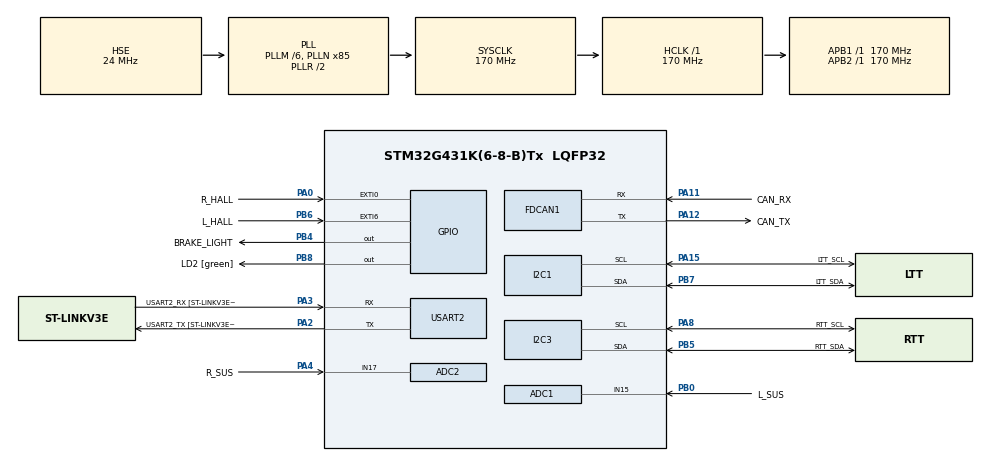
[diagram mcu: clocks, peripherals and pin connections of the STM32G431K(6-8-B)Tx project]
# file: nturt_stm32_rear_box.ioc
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ADC1.Channel-7\#ChannelRegularConversion=ADC_CHANNEL_15
ADC1.NbrOfConversion=1
ADC1.NbrOfConversionFlag=1
ADC1.OffsetNumber-7\#ChannelRegularConversion=ADC_OFFSET_NONE
ADC1.OversamplingMode=ENABLE
ADC1.Rank-7\#ChannelRegularConversion=1
ADC1.Ratio=ADC_OVERSAMPLING_RATIO_4
ADC1.Resolution=ADC_RESOLUTION_10B
ADC1.RightBitShift=ADC_RIGHTBITSHIFT_2
ADC1.SamplingTime-7\#ChannelRegularConversion=ADC_SAMPLETIME_47CYCLES_5
ADC1.master=1
ADC2.Channel-4\#ChannelRegularConversion=ADC_CHANNEL_17
ADC2.NbrOfConversionFlag=1
ADC2.OffsetNumber-4\#ChannelRegularConversion=ADC_OFFSET_NONE
ADC2.OversamplingMode=ENABLE
ADC2.Rank-4\#ChannelRegularConversion=1
ADC2.Ratio=ADC_OVERSAMPLING_RATIO_4
ADC2.Resolution=ADC_RESOLUTION_10B
ADC2.RightBitShift=ADC_RIGHTBITSHIFT_2
ADC2.SamplingTime-4\#ChannelRegularConversion=ADC_SAMPLETIME_47CYCLES_5
CRC.CRCLength=CRC_POLYLENGTH_8B
CRC.DefaultInitValueUse=DEFAULT_INIT_VALUE_DISABLE
CRC.DefaultPolynomialUse=DEFAULT_POLYNOMIAL_DISABLE
Dma.I2C1_RX.2.Direction=DMA_PERIPH_TO_MEMORY
Dma.I2C1_RX.2.EventEnable=DISABLE
Dma.I2C1_RX.2.Instance=DMA1_Channel1
Dma.I2C1_RX.2.MemDataAlignment=DMA_MDATAALIGN_BYTE
Dma.I2C1_RX.2.MemInc=DMA_MINC_ENABLE
Dma.I2C1_RX.2.Mode=DMA_NORMAL
Dma.I2C1_RX.2.PeriphDataAlignment=DMA_PDATAALIGN_BYTE
Dma.I2C1_RX.2.PeriphInc=DMA_PINC_DISABLE
Dma.I2C1_RX.2.Polarity=HAL_DMAMUX_REQ_GEN_RISING
Dma.I2C1_RX.2.Priority=DMA_PRIORITY_LOW
Dma.I2C1_RX.2.RequestNumber=1
Dma.I2C1_RX.2.SignalID=NONE
Dma.I2C1_RX.2.SyncEnable=DISABLE
Dma.I2C1_RX.2.SyncPolarity=HAL_DMAMUX_SYNC_NO_EVENT
Dma.I2C1_RX.2.SyncRequestNumber=1
Dma.I2C1_RX.2.SyncSignalID=NONE
Dma.I2C1_TX.3.Direction=DMA_MEMORY_TO_PERIPH
Dma.I2C1_TX.3.EventEnable=DISABLE
Dma.I2C1_TX.3.Instance=DMA1_Channel2
Dma.I2C1_TX.3.MemDataAlignment=DMA_MDATAALIGN_BYTE
Dma.I2C1_TX.3.MemInc=DMA_MINC_ENABLE
Dma.I2C1_TX.3.Mode=DMA_NORMAL
Dma.I2C1_TX.3.PeriphDataAlignment=DMA_PDATAALIGN_BYTE
Dma.I2C1_TX.3.PeriphInc=DMA_PINC_DISABLE
Dma.I2C1_TX.3.Polarity=HAL_DMAMUX_REQ_GEN_RISING
Dma.I2C1_TX.3.Priority=DMA_PRIORITY_LOW
Dma.I2C1_TX.3.RequestNumber=1
Dma.I2C1_TX.3.SignalID=NONE
Dma.I2C1_TX.3.SyncEnable=DISABLE
Dma.I2C1_TX.3.SyncPolarity=HAL_DMAMUX_SYNC_NO_EVENT
Dma.I2C1_TX.3.SyncRequestNumber=1
Dma.I2C1_TX.3.SyncSignalID=NONE
Dma.I2C3_RX.1.Direction=DMA_PERIPH_TO_MEMORY
Dma.I2C3_RX.1.EventEnable=DISABLE
Dma.I2C3_RX.1.Instance=DMA1_Channel4
Dma.I2C3_RX.1.MemDataAlignment=DMA_MDATAALIGN_BYTE
Dma.I2C3_RX.1.MemInc=DMA_MINC_ENABLE
Dma.I2C3_RX.1.Mode=DMA_NORMAL
Dma.I2C3_RX.1.PeriphDataAlignment=DMA_PDATAALIGN_BYTE
Dma.I2C3_RX.1.PeriphInc=DMA_PINC_DISABLE
Dma.I2C3_RX.1.Polarity=HAL_DMAMUX_REQ_GEN_RISING
Dma.I2C3_RX.1.Priority=DMA_PRIORITY_LOW
Dma.I2C3_RX.1.RequestNumber=1
Dma.I2C3_RX.1.SignalID=NONE
Dma.I2C3_RX.1.SyncEnable=DISABLE
Dma.I2C3_RX.1.SyncPolarity=HAL_DMAMUX_SYNC_NO_EVENT
Dma.I2C3_RX.1.SyncRequestNumber=1
Dma.I2C3_RX.1.SyncSignalID=NONE
Dma.I2C3_TX.0.Direction=DMA_MEMORY_TO_PERIPH
Dma.I2C3_TX.0.EventEnable=DISABLE
Dma.I2C3_TX.0.Instance=DMA1_Channel3
Dma.I2C3_TX.0.MemDataAlignment=DMA_MDATAALIGN_BYTE
Dma.I2C3_TX.0.MemInc=DMA_MINC_ENABLE
Dma.I2C3_TX.0.Mode=DMA_NORMAL
Dma.I2C3_TX.0.PeriphDataAlignment=DMA_PDATAALIGN_BYTE
Dma.I2C3_TX.0.PeriphInc=DMA_PINC_DISABLE
Dma.I2C3_TX.0.Polarity=HAL_DMAMUX_REQ_GEN_RISING
Dma.I2C3_TX.0.Priority=DMA_PRIORITY_LOW
Dma.I2C3_TX.0.RequestNumber=1
Dma.I2C3_TX.0.SignalID=NONE
Dma.I2C3_TX.0.SyncEnable=DISABLE
Dma.I2C3_TX.0.SyncPolarity=HAL_DMAMUX_SYNC_NO_EVENT
Dma.I2C3_TX.0.SyncRequestNumber=1
Dma.I2C3_TX.0.SyncSignalID=NONE
Dma.Request0=I2C3_TX
Dma.Request1=I2C3_RX
Dma.Request2=I2C1_RX
Dma.Request3=I2C1_TX
FDCAN1.CalculateBaudRateNominal=250000
FDCAN1.CalculateTimeBitNominal=4000
FDCAN1.CalculateTimeQuantumNominal=200.0
FDCAN1.ClockDivider=FDCAN_CLOCK_DIV2
FDCAN1.ExtFiltersNbr=8
FDCAN1.NominalPrescaler=17
FDCAN1.NominalTimeSeg1=9
FDCAN1.NominalTimeSeg2=10
FDCAN1.StdFiltersNbr=28
FREERTOS.Mutexes01=hallStoreMutex,Dynamic,NULL;suspensionMutex,Static,suspensionMutexControlBlock;tireTempMutex,Static,tireTempMutexControlBlock;hallLeftTimeMutex,Static,hallLeftTimeMutexControlBlock;hallRightTimeMutex,Static,hallRightTimeMutexControlBlock
FREERTOS.Tasks01=sensor,24,256,StartSensorTask,As weak,NULL,Static,sensorBuffer,sensorControlBlock;feed_dog_task,55,128,start_feed_dog_task,As weak,NULL,Static,feed_dog_task_buffer,feed_dog_task_control_block
FREERTOS.Timers01=sensorTimer,sensor_timer_callback,osTimerPeriodic,As weak,NULL,Static,sensorTimerControlBlock
FREERTOS.configCHECK_FOR_STACK_OVERFLOW=1
FREERTOS.configENABLE_FPU=1
FREERTOS.configGENERATE_RUN_TIME_STATS=1
FREERTOS.configTIMER_TASK_PRIORITY=48
FREERTOS.configTOTAL_HEAP_SIZE=6144
FREERTOS.configUSE_NEWLIB_REENTRANT=1
FREERTOS.configUSE_STATS_FORMATTING_FUNCTIONS=1
I2C1.I2C_Fall_Time=20
I2C1.I2C_Rise_Time=20
I2C1.Speed=50
I2C1.Timing=0xB0303ED9
I2C3.I2C_Fall_Time=20
I2C3.I2C_Rise_Time=20
I2C3.Speed=50
I2C3.Timing=0xB0303ED9
IWDG.Reload=1600 - 1
IWDG.Window=1600 - 1
Mcu.Family=STM32G4
Mcu.Name=STM32G431K(6-8-B)Tx
Mcu.Package=LQFP32
Mcu.UserConstants=WHEEL_SPEED_TIMER_PERIOD,10;WHEEL_SPEED_TIMER_COUNT_PERIOD,0.001
NVIC.ADC1_2_IRQn=true\:5\:0\:false\:false\:true\:true\:true\:true\:true
NVIC.DMA1_Channel1_IRQn=true\:5\:0\:false\:false\:true\:true\:false\:true\:true
NVIC.DMA1_Channel2_IRQn=true\:5\:0\:false\:false\:true\:true\:false\:true\:true
NVIC.DMA1_Channel3_IRQn=true\:5\:0\:false\:false\:true\:true\:false\:true\:true
NVIC.DMA1_Channel4_IRQn=true\:5\:0\:false\:false\:true\:true\:false\:true\:true
NVIC.EXTI0_IRQn=true\:5\:0\:false\:false\:true\:true\:true\:true\:true
NVIC.EXTI9_5_IRQn=true\:5\:0\:false\:false\:true\:true\:true\:true\:true
NVIC.FDCAN1_IT0_IRQn=true\:5\:0\:false\:false\:true\:true\:true\:true\:true
NVIC.I2C1_ER_IRQn=true\:5\:0\:false\:false\:true\:true\:true\:true\:true
NVIC.I2C1_EV_IRQn=true\:5\:0\:false\:false\:true\:true\:true\:true\:true
NVIC.I2C3_ER_IRQn=true\:5\:0\:false\:false\:true\:true\:true\:true\:true
NVIC.I2C3_EV_IRQn=true\:5\:0\:false\:false\:true\:true\:true\:true\:true
NVIC.PriorityGroup=NVIC_PRIORITYGROUP_4
NVIC.TIM1_UP_TIM16_IRQn=true\:5\:0\:false\:false\:true\:true\:true\:true\:true
NVIC.TIM6_DAC_IRQn=true\:5\:0\:false\:false\:true\:true\:true\:true\:true
NVIC.TIM7_IRQn=true\:15\:0\:false\:false\:true\:false\:false\:true\:true
NVIC.TimeBase=TIM7_IRQn
NVIC.TimeBaseIP=TIM7
PA0.GPIO_Label=R_HALL
PA0.GPIO_PuPd=GPIO_PULLUP
PA0.Signal=GPXTI0
PA11.GPIO_Label=CAN_RX
PA11.Mode=FDCAN_Activate
PA11.Signal=FDCAN1_RX
PA12.GPIO_Label=CAN_TX
PA12.Mode=FDCAN_Activate
PA12.Signal=FDCAN1_TX
PA13.GPIO_Label=T_SWDIO
PA13.Mode=Serial_Wire
PA13.Signal=SYS_JTMS-SWDIO
PA14.GPIO_Label=T_SWCLK
PA14.Mode=Serial_Wire
PA14.Signal=SYS_JTCK-SWCLK
PA15.GPIO_Label=LTT_SCL
PA15.Mode=I2C
PA15.Signal=I2C1_SCL
PA2.GPIO_Label=USART2_TX [ST-LINKV3E_VCP_RX]
PA2.Mode=Asynchronous
PA2.Signal=USART2_TX
PA3.GPIO_Label=USART2_RX [ST-LINKV3E_VCP_TX]
PA3.Mode=Asynchronous
PA3.Signal=USART2_RX
PA4.GPIO_Label=R_SUS
PA4.Mode=IN17-Single-Ended
PA4.Signal=ADC2_IN17
PA8.GPIO_Label=RTT_SCL
PA8.Mode=I2C
PA8.Signal=I2C3_SCL
PB0.GPIO_Label=L_SUS
PB0.Mode=IN15-Single-Ended
PB0.Signal=ADC1_IN15
PB4.GPIO_Label=BRAKE_LIGHT
PB4.Signal=GPIO_Output
PB5.GPIO_Label=RTT_SDA
PB5.Mode=I2C
PB5.Signal=I2C3_SDA
PB6.GPIO_Label=L_HALL
PB6.GPIO_ModeDefaultEXTI=GPIO_MODE_IT_FALLING
PB6.GPIO_PuPd=GPIO_PULLUP
PB6.Signal=GPXTI6
PB7.GPIO_Label=LTT_SDA
PB7.Mode=I2C
PB7.Signal=I2C1_SDA
PB8-BOOT0.GPIO_Label=LD2 [green]
PB8-BOOT0.Signal=GPIO_Output
PF0-OSC_IN.Mode=HSE-External-Oscillator
PF0-OSC_IN.Signal=RCC_OSC_IN
PF1-OSC_OUT.Mode=HSE-External-Oscillator
PF1-OSC_OUT.Signal=RCC_OSC_OUT
ProjectManager.HeapSize=0x200
ProjectManager.StackSize=0x400
ProjectManager.TargetToolchain=STM32CubeIDE
RCC.ADC12Freq_Value=170000000
RCC.AHBFreq_Value=170000000
RCC.APB1Freq_Value=170000000
RCC.APB1TimFreq_Value=170000000
RCC.APB2Freq_Value=170000000
RCC.APB2TimFreq_Value=170000000
RCC.CortexFreq_Value=170000000
RCC.EXTERNAL_CLOCK_VALUE=12288000
RCC.HCLKFreq_Value=170000000
RCC.HSE_VALUE=24000000
RCC.HSI48_VALUE=48000000
RCC.HSI_VALUE=16000000
RCC.LSE_VALUE=32768
RCC.PLLM=RCC_PLLM_DIV6
RCC.PLLN=85
RCC.PLLQ=RCC_PLLQ_DIV4
RCC.PLLSourceVirtual=RCC_PLLSOURCE_HSE
RCC.SYSCLKFreq_VALUE=170000000
RCC.SYSCLKSource=RCC_SYSCLKSOURCE_PLLCLK
RCC.USBFreq_Value=85000000
RCC.VCOOutputFreq_Value=340000000
TIM16.PeriodNoDither=100-1
TIM16.Prescaler=170
TIM2.Prescaler=1700 - 1
TIM6.AutoReloadPreload=TIM_AUTORELOAD_PRELOAD_ENABLE
TIM6.PeriodNoDither=10000-1
TIM6.Prescaler=170-1
USART2.VirtualMode-Asynchronous=VM_ASYNC
USART2.WordLength=WORDLENGTH_8B
VP_CRC_VS_CRC.Mode=CRC_Activate
VP_FREERTOS_VS_CMSIS_V2.Mode=CMSIS_V2
VP_IWDG_VS_IWDG.Mode=IWDG_Activate
VP_SYS_VS_DBSignals.Mode=DisableDeadBatterySignals
VP_SYS_VS_tim7.Mode=TIM7
VP_TIM16_VS_ClockSourceINT.Mode=Enable_Timer
VP_TIM2_VS_ClockSourceINT.Mode=Internal
VP_TIM6_VS_ClockSourceINT.Mode=Enable_Timer
board=NUCLEO-G431KB

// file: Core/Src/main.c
/* USER CODE BEGIN Header */
/**
  ******************************************************************************
  * @file           : main.c
  * @brief          : Main program body
  ******************************************************************************
  * @attention
  *
  * Copyright (c) 2023 STMicroelectronics.
  * All rights reserved.
  *
  * This software is licensed under terms that can be found in the LICENSE file
  * in the root directory of this software component.
  * If no LICENSE file comes with this software, it is provided AS-IS.
  *
  ******************************************************************************
  */
/* USER CODE END Header */
#include "main.h"
#include "cmsis_os.h"

/* USER CODE BEGIN Includes */
#include "user_main.h"
#include "sensors.h"
/* USER CODE END Includes */

typedef StaticTask_t osStaticThreadDef_t;
typedef StaticTimer_t osStaticTimerDef_t;
typedef StaticSemaphore_t osStaticMutexDef_t;

ADC_HandleTypeDef hadc1;
ADC_HandleTypeDef hadc2;

CRC_HandleTypeDef hcrc;

FDCAN_HandleTypeDef hfdcan1;

I2C_HandleTypeDef hi2c1;
I2C_HandleTypeDef hi2c3;
DMA_HandleTypeDef hdma_i2c1_rx;
DMA_HandleTypeDef hdma_i2c1_tx;
DMA_HandleTypeDef hdma_i2c3_tx;
DMA_HandleTypeDef hdma_i2c3_rx;

IWDG_HandleTypeDef hiwdg;

TIM_HandleTypeDef htim2;
TIM_HandleTypeDef htim6;
TIM_HandleTypeDef htim16;

UART_HandleTypeDef huart2;

/* Definitions for sensor */
osThreadId_t sensorHandle;
uint32_t sensorBuffer[ 256 ];
osStaticThreadDef_t sensorControlBlock;
const osThreadAttr_t sensor_attributes = {
  .name = "sensor",
  .stack_mem = &sensorBuffer[0],
  .stack_size = sizeof(sensorBuffer),
  .cb_mem = &sensorControlBlock,
  .cb_size = sizeof(sensorControlBlock),
  .priority = (osPriority_t) osPriorityNormal,
};
/* Definitions for feed_dog_task */
osThreadId_t feed_dog_taskHandle;
uint32_t feed_dog_task_buffer[ 128 ];
osStaticThreadDef_t feed_dog_task_control_block;
const osThreadAttr_t feed_dog_task_attributes = {
  .name = "feed_dog_task",
  .stack_mem = &feed_dog_task_buffer[0],
  .stack_size = sizeof(feed_dog_task_buffer),
  .cb_mem = &feed_dog_task_control_block,
  .cb_size = sizeof(feed_dog_task_control_block),
  .priority = (osPriority_t) osPriorityRealtime7,
};
/* Definitions for sensorTimer */
osTimerId_t sensorTimerHandle;
osStaticTimerDef_t sensorTimerControlBlock;
const osTimerAttr_t sensorTimer_attributes = {
  .name = "sensorTimer",
  .cb_mem = &sensorTimerControlBlock,
  .cb_size = sizeof(sensorTimerControlBlock),
};
/* Definitions for hallStoreMutex */
osMutexId_t hallStoreMutexHandle;
const osMutexAttr_t hallStoreMutex_attributes = {
  .name = "hallStoreMutex"
};
/* Definitions for suspensionMutex */
osMutexId_t suspensionMutexHandle;
osStaticMutexDef_t suspensionMutexControlBlock;
const osMutexAttr_t suspensionMutex_attributes = {
  .name = "suspensionMutex",
  .cb_mem = &suspensionMutexControlBlock,
  .cb_size = sizeof(suspensionMutexControlBlock),
};
/* Definitions for tireTempMutex */
osMutexId_t tireTempMutexHandle;
osStaticMutexDef_t tireTempMutexControlBlock;
const osMutexAttr_t tireTempMutex_attributes = {
  .name = "tireTempMutex",
  .cb_mem = &tireTempMutexControlBlock,
  .cb_size = sizeof(tireTempMutexControlBlock),
};
/* Definitions for hallLeftTimeMutex */
osMutexId_t hallLeftTimeMutexHandle;
osStaticMutexDef_t hallLeftTimeMutexControlBlock;
const osMutexAttr_t hallLeftTimeMutex_attributes = {
  .name = "hallLeftTimeMutex",
  .cb_mem = &hallLeftTimeMutexControlBlock,
  .cb_size = sizeof(hallLeftTimeMutexControlBlock),
};
/* Definitions for hallRightTimeMutex */
osMutexId_t hallRightTimeMutexHandle;
osStaticMutexDef_t hallRightTimeMutexControlBlock;
const osMutexAttr_t hallRightTimeMutex_attributes = {
  .name = "hallRightTimeMutex",
  .cb_mem = &hallRightTimeMutexControlBlock,
  .cb_size = sizeof(hallRightTimeMutexControlBlock),
};
/* USER CODE BEGIN PV */

//exporting peripheral handle as global variable
ADC_HandleTypeDef* const p_hadc_susR = &hadc2;
ADC_HandleTypeDef* const p_hadc_susL = &hadc1;
FDCAN_HandleTypeDef* const p_hcan = &hfdcan1;
I2C_HandleTypeDef* const p_hi2c_tireTempR = &hi2c3;
I2C_HandleTypeDef* const p_hi2c_tireTempL = &hi2c1;
// DMA_HandleTypeDef* const p_hdma_tireTempR = &hdma_i2c3_rx;
CRC_HandleTypeDef* const p_hcrc_i2c = &hcrc;
TIM_HandleTypeDef* const p_htim_hallSensorBase = &htim6;
UART_HandleTypeDef* const p_huart_testCOM = &huart2;
TIM_HandleTypeDef* const p_htim_rtosStatBase = &htim16;

/* USER CODE END PV */

void SystemClock_Config(void);
static void MX_GPIO_Init(void);
static void MX_DMA_Init(void);
static void MX_ADC2_Init(void);
static void MX_FDCAN1_Init(void);
static void MX_TIM6_Init(void);
static void MX_ADC1_Init(void);
static void MX_USART2_UART_Init(void);
static void MX_TIM16_Init(void);
static void MX_CRC_Init(void);
static void MX_I2C3_Init(void);
static void MX_I2C1_Init(void);
static void MX_TIM2_Init(void);
static void MX_IWDG_Init(void);
void StartSensorTask(void *argument);
void start_feed_dog_task(void *argument);
void sensor_timer_callback(void *argument);

int main(void)
{

  /* MCU Configuration--------------------------------------------------------*/

  /* Reset of all peripherals, Initializes the Flash interface and the Systick. */
  HAL_Init();

  /* Configure the system clock */
  SystemClock_Config();

  /* Initialize all configured peripherals */
  MX_GPIO_Init();
  MX_DMA_Init();
  MX_ADC2_Init();
  MX_FDCAN1_Init();
  MX_TIM6_Init();
  MX_ADC1_Init();
  MX_USART2_UART_Init();
  MX_TIM16_Init();
  MX_CRC_Init();
  MX_I2C3_Init();
  MX_I2C1_Init();
  MX_TIM2_Init();
  MX_IWDG_Init();
  /* USER CODE BEGIN 2 */
  user_init();
  /* USER CODE END 2 */

  /* Init scheduler */
  osKernelInitialize();
  /* Create the mutex(es) */
  /* creation of hallStoreMutex */
  hallStoreMutexHandle = osMutexNew(&hallStoreMutex_attributes);

  /* creation of suspensionMutex */
  suspensionMutexHandle = osMutexNew(&suspensionMutex_attributes);

  /* creation of tireTempMutex */
  tireTempMutexHandle = osMutexNew(&tireTempMutex_attributes);

  /* creation of hallLeftTimeMutex */
  hallLeftTimeMutexHandle = osMutexNew(&hallLeftTimeMutex_attributes);

  /* creation of hallRightTimeMutex */
  hallRightTimeMutexHandle = osMutexNew(&hallRightTimeMutex_attributes);

  /* USER CODE BEGIN RTOS_MUTEX */
  /* bind mutexes, ... */
  wheel_speed_sensor.mutex = hallStoreMutexHandle;
  travel_sensor.mutex = suspensionMutexHandle;
  tire_temp_sensor.mutex = tireTempMutexHandle;
  bindHallMutex(hallLeftTimeMutexHandle, hallRightTimeMutexHandle);
  /* USER CODE END RTOS_MUTEX */

  /* Create the timer(s) */
  /* creation of sensorTimer */
  sensorTimerHandle = osTimerNew(sensor_timer_callback, osTimerPeriodic, NULL, &sensorTimer_attributes);

  /* Create the thread(s) */
  /* creation of sensor */
  sensorHandle = osThreadNew(StartSensorTask, NULL, &sensor_attributes);

  /* creation of feed_dog_task */
  feed_dog_taskHandle = osThreadNew(start_feed_dog_task, NULL, &feed_dog_task_attributes);

  /* Start scheduler */
  osKernelStart();
  /* We should never get here as control is now taken by the scheduler */
  /* Infinite loop */
  while (1)
  {

  }
}

void SystemClock_Config(void)
{
  RCC_OscInitTypeDef RCC_OscInitStruct = {0};
  RCC_ClkInitTypeDef RCC_ClkInitStruct = {0};

  /** Configure the main internal regulator output voltage
  */
  HAL_PWREx_ControlVoltageScaling(PWR_REGULATOR_VOLTAGE_SCALE1_BOOST);

  /** Initializes the RCC Oscillators according to the specified parameters
  * in the RCC_OscInitTypeDef structure.
  */
  RCC_OscInitStruct.OscillatorType = RCC_OSCILLATORTYPE_LSI|RCC_OSCILLATORTYPE_HSE;
  RCC_OscInitStruct.HSEState = RCC_HSE_ON;
  RCC_OscInitStruct.LSIState = RCC_LSI_ON;
  RCC_OscInitStruct.PLL.PLLState = RCC_PLL_ON;
  RCC_OscInitStruct.PLL.PLLSource = RCC_PLLSOURCE_HSE;
  RCC_OscInitStruct.PLL.PLLM = RCC_PLLM_DIV6;
  RCC_OscInitStruct.PLL.PLLN = 85;
  RCC_OscInitStruct.PLL.PLLP = RCC_PLLP_DIV2;
  RCC_OscInitStruct.PLL.PLLQ = RCC_PLLQ_DIV4;
  RCC_OscInitStruct.PLL.PLLR = RCC_PLLR_DIV2;
  if (HAL_RCC_OscConfig(&RCC_OscInitStruct) != HAL_OK)
  {
    Error_Handler();
  }

  /** Initializes the CPU, AHB and APB buses clocks
  */
  RCC_ClkInitStruct.ClockType = RCC_CLOCKTYPE_HCLK|RCC_CLOCKTYPE_SYSCLK
                              |RCC_CLOCKTYPE_PCLK1|RCC_CLOCKTYPE_PCLK2;
  RCC_ClkInitStruct.SYSCLKSource = RCC_SYSCLKSOURCE_PLLCLK;
  RCC_ClkInitStruct.AHBCLKDivider = RCC_SYSCLK_DIV1;
  RCC_ClkInitStruct.APB1CLKDivider = RCC_HCLK_DIV1;
  RCC_ClkInitStruct.APB2CLKDivider = RCC_HCLK_DIV1;

  if (HAL_RCC_ClockConfig(&RCC_ClkInitStruct, FLASH_LATENCY_4) != HAL_OK)
  {
    Error_Handler();
  }
}

static void MX_ADC1_Init(void)
{

  ADC_MultiModeTypeDef multimode = {0};
  ADC_ChannelConfTypeDef sConfig = {0};

  /** Common config
  */
  hadc1.Instance = ADC1;
  hadc1.Init.ClockPrescaler = ADC_CLOCK_SYNC_PCLK_DIV4;
  hadc1.Init.Resolution = ADC_RESOLUTION_10B;
  hadc1.Init.DataAlign = ADC_DATAALIGN_RIGHT;
  hadc1.Init.GainCompensation = 0;
  hadc1.Init.ScanConvMode = ADC_SCAN_DISABLE;
  hadc1.Init.EOCSelection = ADC_EOC_SINGLE_CONV;
  hadc1.Init.LowPowerAutoWait = DISABLE;
  hadc1.Init.ContinuousConvMode = DISABLE;
  hadc1.Init.NbrOfConversion = 1;
  hadc1.Init.DiscontinuousConvMode = DISABLE;
  hadc1.Init.ExternalTrigConv = ADC_SOFTWARE_START;
  hadc1.Init.ExternalTrigConvEdge = ADC_EXTERNALTRIGCONVEDGE_NONE;
  hadc1.Init.DMAContinuousRequests = DISABLE;
  hadc1.Init.Overrun = ADC_OVR_DATA_PRESERVED;
  hadc1.Init.OversamplingMode = ENABLE;
  hadc1.Init.Oversampling.Ratio = ADC_OVERSAMPLING_RATIO_4;
  hadc1.Init.Oversampling.RightBitShift = ADC_RIGHTBITSHIFT_2;
  hadc1.Init.Oversampling.TriggeredMode = ADC_TRIGGEREDMODE_SINGLE_TRIGGER;
  hadc1.Init.Oversampling.OversamplingStopReset = ADC_REGOVERSAMPLING_CONTINUED_MODE;
  if (HAL_ADC_Init(&hadc1) != HAL_OK)
  {
    Error_Handler();
  }

  /** Configure the ADC multi-mode
  */
  multimode.Mode = ADC_MODE_INDEPENDENT;
  if (HAL_ADCEx_MultiModeConfigChannel(&hadc1, &multimode) != HAL_OK)
  {
    Error_Handler();
  }

  /** Configure Regular Channel
  */
  sConfig.Channel = ADC_CHANNEL_15;
  sConfig.Rank = ADC_REGULAR_RANK_1;
  sConfig.SamplingTime = ADC_SAMPLETIME_47CYCLES_5;
  sConfig.SingleDiff = ADC_SINGLE_ENDED;
  sConfig.OffsetNumber = ADC_OFFSET_NONE;
  sConfig.Offset = 0;
  if (HAL_ADC_ConfigChannel(&hadc1, &sConfig) != HAL_OK)
  {
    Error_Handler();
  }

}

static void MX_ADC2_Init(void)
{

  ADC_ChannelConfTypeDef sConfig = {0};

  /** Common config
  */
  hadc2.Instance = ADC2;
  hadc2.Init.ClockPrescaler = ADC_CLOCK_SYNC_PCLK_DIV4;
  hadc2.Init.Resolution = ADC_RESOLUTION_10B;
  hadc2.Init.DataAlign = ADC_DATAALIGN_RIGHT;
  hadc2.Init.GainCompensation = 0;
  hadc2.Init.ScanConvMode = ADC_SCAN_DISABLE;
  hadc2.Init.EOCSelection = ADC_EOC_SINGLE_CONV;
  hadc2.Init.LowPowerAutoWait = DISABLE;
  hadc2.Init.ContinuousConvMode = DISABLE;
  hadc2.Init.NbrOfConversion = 1;
  hadc2.Init.DiscontinuousConvMode = DISABLE;
  hadc2.Init.ExternalTrigConv = ADC_SOFTWARE_START;
  hadc2.Init.ExternalTrigConvEdge = ADC_EXTERNALTRIGCONVEDGE_NONE;
  hadc2.Init.DMAContinuousRequests = DISABLE;
  hadc2.Init.Overrun = ADC_OVR_DATA_PRESERVED;
  hadc2.Init.OversamplingMode = ENABLE;
  hadc2.Init.Oversampling.Ratio = ADC_OVERSAMPLING_RATIO_4;
  hadc2.Init.Oversampling.RightBitShift = ADC_RIGHTBITSHIFT_2;
  hadc2.Init.Oversampling.TriggeredMode = ADC_TRIGGEREDMODE_SINGLE_TRIGGER;
  hadc2.Init.Oversampling.OversamplingStopReset = ADC_REGOVERSAMPLING_CONTINUED_MODE;
  if (HAL_ADC_Init(&hadc2) != HAL_OK)
  {
    Error_Handler();
  }

  /** Configure Regular Channel
  */
  sConfig.Channel = ADC_CHANNEL_17;
  sConfig.Rank = ADC_REGULAR_RANK_1;
  sConfig.SamplingTime = ADC_SAMPLETIME_47CYCLES_5;
  sConfig.SingleDiff = ADC_SINGLE_ENDED;
  sConfig.OffsetNumber = ADC_OFFSET_NONE;
  sConfig.Offset = 0;
  if (HAL_ADC_ConfigChannel(&hadc2, &sConfig) != HAL_OK)
  {
    Error_Handler();
  }

}

static void MX_CRC_Init(void)
{

  hcrc.Instance = CRC;
  hcrc.Init.DefaultPolynomialUse = DEFAULT_POLYNOMIAL_DISABLE;
  hcrc.Init.DefaultInitValueUse = DEFAULT_INIT_VALUE_DISABLE;
  hcrc.Init.GeneratingPolynomial = 7;
  hcrc.Init.CRCLength = CRC_POLYLENGTH_8B;
  hcrc.Init.InitValue = 0;
  hcrc.Init.InputDataInversionMode = CRC_INPUTDATA_INVERSION_NONE;
  hcrc.Init.OutputDataInversionMode = CRC_OUTPUTDATA_INVERSION_DISABLE;
  hcrc.InputDataFormat = CRC_INPUTDATA_FORMAT_BYTES;
  if (HAL_CRC_Init(&hcrc) != HAL_OK)
  {
    Error_Handler();
  }

}

static void MX_FDCAN1_Init(void)
{

  hfdcan1.Instance = FDCAN1;
  hfdcan1.Init.ClockDivider = FDCAN_CLOCK_DIV2;
  hfdcan1.Init.FrameFormat = FDCAN_FRAME_CLASSIC;
  hfdcan1.Init.Mode = FDCAN_MODE_NORMAL;
  hfdcan1.Init.AutoRetransmission = DISABLE;
  hfdcan1.Init.TransmitPause = DISABLE;
  hfdcan1.Init.ProtocolException = DISABLE;
  hfdcan1.Init.NominalPrescaler = 17;
  hfdcan1.Init.NominalSyncJumpWidth = 1;
  hfdcan1.Init.NominalTimeSeg1 = 9;
  hfdcan1.Init.NominalTimeSeg2 = 10;
  hfdcan1.Init.DataPrescaler = 1;
  hfdcan1.Init.DataSyncJumpWidth = 1;
  hfdcan1.Init.DataTimeSeg1 = 1;
  hfdcan1.Init.DataTimeSeg2 = 1;
  hfdcan1.Init.StdFiltersNbr = 28;
  hfdcan1.Init.ExtFiltersNbr = 8;
  hfdcan1.Init.TxFifoQueueMode = FDCAN_TX_FIFO_OPERATION;
  if (HAL_FDCAN_Init(&hfdcan1) != HAL_OK)
  {
    Error_Handler();
  }

}

static void MX_I2C1_Init(void)
{

  hi2c1.Instance = I2C1;
  hi2c1.Init.Timing = 0xB0303ED9;
  hi2c1.Init.OwnAddress1 = 0;
  hi2c1.Init.AddressingMode = I2C_ADDRESSINGMODE_7BIT;
  hi2c1.Init.DualAddressMode = I2C_DUALADDRESS_DISABLE;
  hi2c1.Init.OwnAddress2 = 0;
  hi2c1.Init.OwnAddress2Masks = I2C_OA2_NOMASK;
  hi2c1.Init.GeneralCallMode = I2C_GENERALCALL_DISABLE;
  hi2c1.Init.NoStretchMode = I2C_NOSTRETCH_DISABLE;
  if (HAL_I2C_Init(&hi2c1) != HAL_OK)
  {
    Error_Handler();
  }

  /** Configure Analogue filter
  */
  if (HAL_I2CEx_ConfigAnalogFilter(&hi2c1, I2C_ANALOGFILTER_ENABLE) != HAL_OK)
  {
    Error_Handler();
  }

  /** Configure Digital filter
  */
  if (HAL_I2CEx_ConfigDigitalFilter(&hi2c1, 0) != HAL_OK)
  {
    Error_Handler();
  }

}

static void MX_I2C3_Init(void)
{

  hi2c3.Instance = I2C3;
  hi2c3.Init.Timing = 0xB0303ED9;
  hi2c3.Init.OwnAddress1 = 0;
  hi2c3.Init.AddressingMode = I2C_ADDRESSINGMODE_7BIT;
  hi2c3.Init.DualAddressMode = I2C_DUALADDRESS_DISABLE;
  hi2c3.Init.OwnAddress2 = 0;
  hi2c3.Init.OwnAddress2Masks = I2C_OA2_NOMASK;
  hi2c3.Init.GeneralCallMode = I2C_GENERALCALL_DISABLE;
  hi2c3.Init.NoStretchMode = I2C_NOSTRETCH_DISABLE;
  if (HAL_I2C_Init(&hi2c3) != HAL_OK)
  {
    Error_Handler();
  }

  /** Configure Analogue filter
  */
  if (HAL_I2CEx_ConfigAnalogFilter(&hi2c3, I2C_ANALOGFILTER_ENABLE) != HAL_OK)
  {
    Error_Handler();
  }

  /** Configure Digital filter
  */
  if (HAL_I2CEx_ConfigDigitalFilter(&hi2c3, 0) != HAL_OK)
  {
    Error_Handler();
  }

}

static void MX_IWDG_Init(void)
{

  /* USER CODE BEGIN IWDG_Init 1 */
#ifdef PRODUCTION
  /* USER CODE END IWDG_Init 1 */
  hiwdg.Instance = IWDG;
  hiwdg.Init.Prescaler = IWDG_PRESCALER_4;
  hiwdg.Init.Window = 1600 - 1;
  hiwdg.Init.Reload = 1600 - 1;
  if (HAL_IWDG_Init(&hiwdg) != HAL_OK)
  {
    Error_Handler();
  }
  /* USER CODE BEGIN IWDG_Init 2 */
#endif  // PRODUCTION
  /* USER CODE END IWDG_Init 2 */

}

static void MX_TIM2_Init(void)
{

  TIM_ClockConfigTypeDef sClockSourceConfig = {0};
  TIM_MasterConfigTypeDef sMasterConfig = {0};

  htim2.Instance = TIM2;
  htim2.Init.Prescaler = 1700 - 1;
  htim2.Init.CounterMode = TIM_COUNTERMODE_UP;
  htim2.Init.Period = 4.294967295E9;
  htim2.Init.ClockDivision = TIM_CLOCKDIVISION_DIV1;
  htim2.Init.AutoReloadPreload = TIM_AUTORELOAD_PRELOAD_DISABLE;
  if (HAL_TIM_Base_Init(&htim2) != HAL_OK)
  {
    Error_Handler();
  }
  sClockSourceConfig.ClockSource = TIM_CLOCKSOURCE_INTERNAL;
  if (HAL_TIM_ConfigClockSource(&htim2, &sClockSourceConfig) != HAL_OK)
  {
    Error_Handler();
  }
  sMasterConfig.MasterOutputTrigger = TIM_TRGO_RESET;
  sMasterConfig.MasterSlaveMode = TIM_MASTERSLAVEMODE_DISABLE;
  if (HAL_TIMEx_MasterConfigSynchronization(&htim2, &sMasterConfig) != HAL_OK)
  {
    Error_Handler();
  }

}

static void MX_TIM6_Init(void)
{

  TIM_MasterConfigTypeDef sMasterConfig = {0};

  htim6.Instance = TIM6;
  htim6.Init.Prescaler = 170-1;
  htim6.Init.CounterMode = TIM_COUNTERMODE_UP;
  htim6.Init.Period = 9999;
  htim6.Init.AutoReloadPreload = TIM_AUTORELOAD_PRELOAD_ENABLE;
  if (HAL_TIM_Base_Init(&htim6) != HAL_OK)
  {
    Error_Handler();
  }
  sMasterConfig.MasterOutputTrigger = TIM_TRGO_RESET;
  sMasterConfig.MasterSlaveMode = TIM_MASTERSLAVEMODE_DISABLE;
  if (HAL_TIMEx_MasterConfigSynchronization(&htim6, &sMasterConfig) != HAL_OK)
  {
    Error_Handler();
  }

}

static void MX_TIM16_Init(void)
{

  htim16.Instance = TIM16;
  htim16.Init.Prescaler = 170;
  htim16.Init.CounterMode = TIM_COUNTERMODE_UP;
  htim16.Init.Period = 99;
  htim16.Init.ClockDivision = TIM_CLOCKDIVISION_DIV1;
  htim16.Init.RepetitionCounter = 0;
  htim16.Init.AutoReloadPreload = TIM_AUTORELOAD_PRELOAD_DISABLE;
  if (HAL_TIM_Base_Init(&htim16) != HAL_OK)
  {
    Error_Handler();
  }

}

static void MX_USART2_UART_Init(void)
{

  huart2.Instance = USART2;
  huart2.Init.BaudRate = 115200;
  huart2.Init.WordLength = UART_WORDLENGTH_8B;
  huart2.Init.StopBits = UART_STOPBITS_1;
  huart2.Init.Parity = UART_PARITY_NONE;
  huart2.Init.Mode = UART_MODE_TX_RX;
  huart2.Init.HwFlowCtl = UART_HWCONTROL_NONE;
  huart2.Init.OverSampling = UART_OVERSAMPLING_16;
  huart2.Init.OneBitSampling = UART_ONE_BIT_SAMPLE_DISABLE;
  huart2.Init.ClockPrescaler = UART_PRESCALER_DIV1;
  huart2.AdvancedInit.AdvFeatureInit = UART_ADVFEATURE_NO_INIT;
  if (HAL_UART_Init(&huart2) != HAL_OK)
  {
    Error_Handler();
  }
  if (HAL_UARTEx_SetTxFifoThreshold(&huart2, UART_TXFIFO_THRESHOLD_1_8) != HAL_OK)
  {
    Error_Handler();
  }
  if (HAL_UARTEx_SetRxFifoThreshold(&huart2, UART_RXFIFO_THRESHOLD_1_8) != HAL_OK)
  {
    Error_Handler();
  }
  if (HAL_UARTEx_DisableFifoMode(&huart2) != HAL_OK)
  {
    Error_Handler();
  }

}

static void MX_DMA_Init(void)
{

  /* DMA controller clock enable */
  __HAL_RCC_DMAMUX1_CLK_ENABLE();
  __HAL_RCC_DMA1_CLK_ENABLE();

  /* DMA interrupt init */
  /* DMA1_Channel1_IRQn interrupt configuration */
  HAL_NVIC_SetPriority(DMA1_Channel1_IRQn, 5, 0);
  HAL_NVIC_EnableIRQ(DMA1_Channel1_IRQn);
  /* DMA1_Channel2_IRQn interrupt configuration */
  HAL_NVIC_SetPriority(DMA1_Channel2_IRQn, 5, 0);
  HAL_NVIC_EnableIRQ(DMA1_Channel2_IRQn);
  /* DMA1_Channel3_IRQn interrupt configuration */
  HAL_NVIC_SetPriority(DMA1_Channel3_IRQn, 5, 0);
  HAL_NVIC_EnableIRQ(DMA1_Channel3_IRQn);
  /* DMA1_Channel4_IRQn interrupt configuration */
  HAL_NVIC_SetPriority(DMA1_Channel4_IRQn, 5, 0);
  HAL_NVIC_EnableIRQ(DMA1_Channel4_IRQn);

}

static void MX_GPIO_Init(void)
{
  GPIO_InitTypeDef GPIO_InitStruct = {0};

  /* GPIO Ports Clock Enable */
  __HAL_RCC_GPIOF_CLK_ENABLE();
  __HAL_RCC_GPIOA_CLK_ENABLE();
  __HAL_RCC_GPIOB_CLK_ENABLE();

  /*Configure GPIO pin Output Level */
  HAL_GPIO_WritePin(GPIOB, BRAKE_LIGHT_Pin|LD2_Pin, GPIO_PIN_RESET);

  /*Configure GPIO pin : R_HALL_Pin */
  GPIO_InitStruct.Pin = R_HALL_Pin;
  GPIO_InitStruct.Mode = GPIO_MODE_IT_RISING;
  GPIO_InitStruct.Pull = GPIO_PULLUP;
  HAL_GPIO_Init(R_HALL_GPIO_Port, &GPIO_InitStruct);

  /*Configure GPIO pins : BRAKE_LIGHT_Pin LD2_Pin */
  GPIO_InitStruct.Pin = BRAKE_LIGHT_Pin|LD2_Pin;
  GPIO_InitStruct.Mode = GPIO_MODE_OUTPUT_PP;
  GPIO_InitStruct.Pull = GPIO_NOPULL;
  GPIO_InitStruct.Speed = GPIO_SPEED_FREQ_LOW;
  HAL_GPIO_Init(GPIOB, &GPIO_InitStruct);

  /*Configure GPIO pin : L_HALL_Pin */
  GPIO_InitStruct.Pin = L_HALL_Pin;
  GPIO_InitStruct.Mode = GPIO_MODE_IT_FALLING;
  GPIO_InitStruct.Pull = GPIO_PULLUP;
  HAL_GPIO_Init(L_HALL_GPIO_Port, &GPIO_InitStruct);

  /* EXTI interrupt init*/
  HAL_NVIC_SetPriority(EXTI0_IRQn, 5, 0);
  HAL_NVIC_EnableIRQ(EXTI0_IRQn);

  HAL_NVIC_SetPriority(EXTI9_5_IRQn, 5, 0);
  HAL_NVIC_EnableIRQ(EXTI9_5_IRQn);

}

__weak void StartSensorTask(void *argument)
{
  for(;;)
  {
    osDelay(1);
  }
}

__weak void start_feed_dog_task(void *argument)
{
  /* USER CODE BEGIN start_feed_dog_task */
  while (1) {
#ifdef PRODUCTION
    HAL_IWDG_Refresh(&hiwdg);
#endif  // PRODUCTION
    osDelay(100);
  }
  /* USER CODE END start_feed_dog_task */
}

/* sensor_timer_callback function */
__weak void sensor_timer_callback(void *argument)
{
}

void HAL_TIM_PeriodElapsedCallback(TIM_HandleTypeDef *htim)
{
  if (htim->Instance == TIM7) {
    HAL_IncTick();
  }
  /* USER CODE BEGIN Callback 1 */
  if(htim->Instance == TIM6) {
    __hall_timer_elapsed(htim);
  }
  /* USER CODE END Callback 1 */
}

void Error_Handler(void)
{
  /* USER CODE BEGIN Error_Handler_Debug */
  /* User can add his own implementation to report the HAL error return state */
    __disable_irq();
  // if under debugging
  if ((CoreDebug->DHCSR & 0x1) == 0x1) {
    __asm volatile("BKPT #0");
  } else {
#ifdef PRODUCTION
    NVIC_SystemReset();
#else
    HAL_GPIO_WritePin(BRAKE_LIGHT_GPIO_Port, BRAKE_LIGHT_Pin, GPIO_PIN_SET);
    HAL_GPIO_WritePin(LD2_GPIO_Port, LD2_Pin, GPIO_PIN_SET);
    while (1) {
    }
#endif  // PRODUCTION
  }
  /* USER CODE END Error_Handler_Debug */
}

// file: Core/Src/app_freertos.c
/* USER CODE BEGIN Header */
/**
  ******************************************************************************
  * File Name          : app_freertos.c
  * Description        : Code for freertos applications
  ******************************************************************************
  * @attention
  *
  * Copyright (c) 2023 STMicroelectronics.
  * All rights reserved.
  *
  * This software is licensed under terms that can be found in the LICENSE file
  * in the root directory of this software component.
  * If no LICENSE file comes with this software, it is provided AS-IS.
  *
  ******************************************************************************
  */
/* USER CODE END Header */

#include "FreeRTOS.h"
#include "task.h"
#include "main.h"

/* Hook prototypes */
void configureTimerForRunTimeStats(void);
unsigned long getRunTimeCounterValue(void);
void vApplicationStackOverflowHook(xTaskHandle xTask, signed char *pcTaskName);

/* USER CODE BEGIN 1 */
/* Functions needed when configGENERATE_RUN_TIME_STATS is on */
__weak void configureTimerForRunTimeStats(void)
{

}

__weak unsigned long getRunTimeCounterValue(void)
{
return 0;
}
/* USER CODE END 1 */

/* USER CODE BEGIN 4 */
__weak void vApplicationStackOverflowHook(xTaskHandle xTask, signed char *pcTaskName)
{
   /* Run time stack overflow checking is performed if
   configCHECK_FOR_STACK_OVERFLOW is defined to 1 or 2. This hook function is
   called if a stack overflow is detected. */
}
/* USER CODE END 4 */
